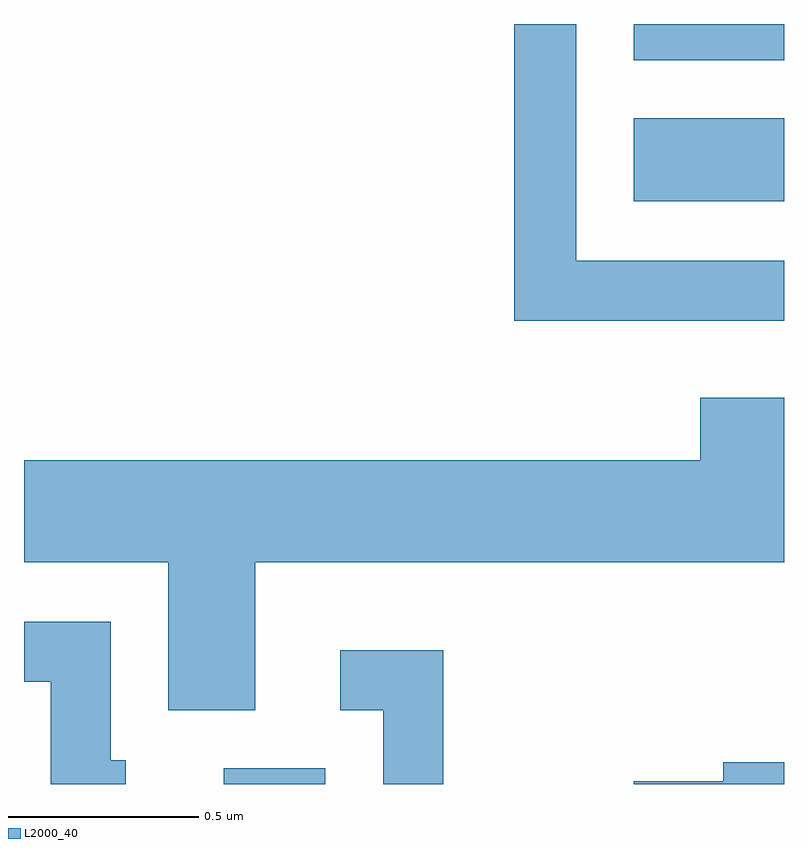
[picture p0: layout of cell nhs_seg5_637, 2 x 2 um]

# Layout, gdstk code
import gdstk
lib = gdstk.Library(unit=1e-6, precision=1e-09)
def R(c, l, rs):  # rectangles x0, y0, x1, y1
    for r in rs: c.add(gdstk.rectangle(r[:2], r[2:], *l))
def P(c, l, *ps):  # polygons
    for p in ps: c.add(gdstk.Polygon(p, *l))
L2000_40 = (2000, 40)

nhs_seg5_637 = lib.new_cell('nhs_seg5_637')
R(nhs_seg5_637, L2000_40, [(190.136,1485.072,190.404,1485.114), (191.216,1486.606,191.611,1486.824), (191.216,1486.976,191.611,1487.072)])
P(nhs_seg5_637, L2000_40, [(191.611,1486.449),(191.064,1486.449),(191.064,1487.072),(190.901,1487.072),(190.901,1486.291),(191.611,1486.291)],
  [(190.219,1485.656),(191.611,1485.656),(191.611,1486.089),(191.391,1486.089),(191.391,1485.924),(189.611,1485.924),(189.611,1485.656),(189.991,1485.656),(189.991,1485.266),(190.219,1485.266)],
  [(189.879,1485.134),(189.839,1485.134),(189.839,1485.499),(189.611,1485.499),(189.611,1485.341),(189.681,1485.341),(189.681,1485.072),(189.879,1485.072)],
  [(190.714,1485.424),(190.443,1485.424),(190.443,1485.266),(190.556,1485.266),(190.556,1485.072),(190.714,1485.072)],
  [(191.611,1485.129),(191.451,1485.129),(191.451,1485.079),(191.216,1485.079),(191.216,1485.072),(191.611,1485.072)])

lib.write_gds('nhs_seg5_637.gds')
